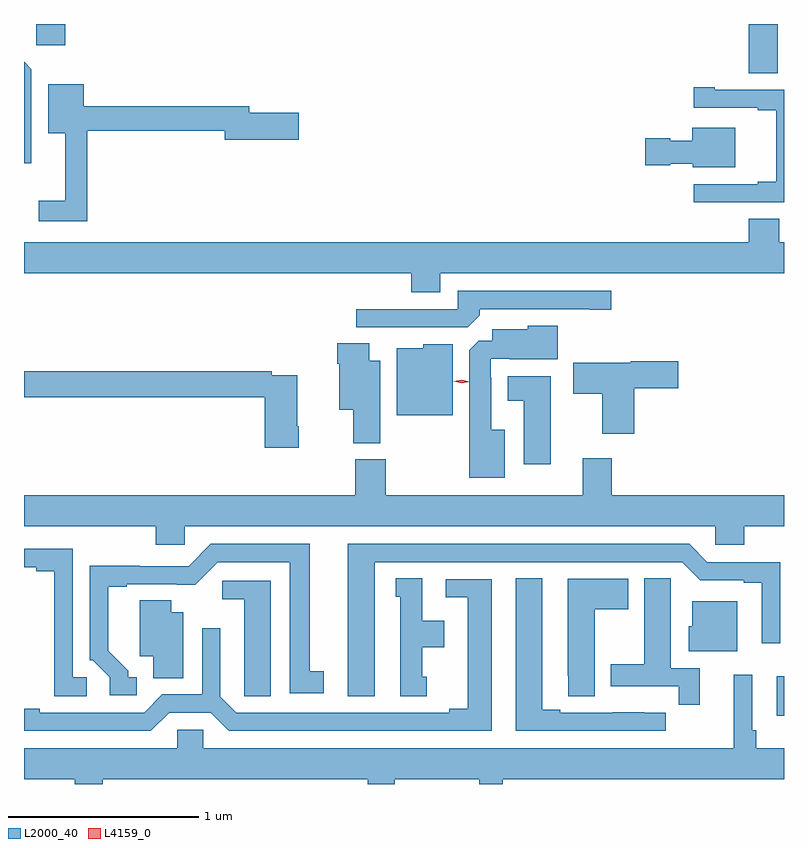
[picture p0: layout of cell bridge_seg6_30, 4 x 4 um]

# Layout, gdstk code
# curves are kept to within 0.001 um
import gdstk
lib = gdstk.Library(unit=1e-6, precision=1e-09)
def R(c, l, rs):  # rectangles x0, y0, x1, y1
    for r in rs: c.add(gdstk.rectangle(r[:2], r[2:], *l))
def P(c, l, *ps):  # polygons
    for p in ps: c.add(gdstk.Polygon(p, *l))
L2000_40 = (2000, 40)
L4159_0 = (4159, 0)

bridge_seg6_30 = lib.new_cell('bridge_seg6_30')
R(bridge_seg6_30, L2000_40, [(1104.422,990.296,1104.461,990.502), (1104.275,993.676,1104.427,993.936), (1100.526,993.825,1100.678,993.936)])
P(bridge_seg6_30, L2000_40, [(1100.499,993.699),(1100.461,993.737),(1100.461,993.204),(1100.499,993.204)],
  [(1100.795,993.373),(1101.518,993.373),(1101.518,993.326),(1101.907,993.326),(1101.907,993.468),(1101.646,993.468),(1101.646,993.502),(1100.776,993.502),(1100.776,993.619),(1100.588,993.619),(1100.588,993.362),(1100.678,993.362),(1100.678,993.007),(1100.538,993.007),(1100.538,992.898),(1100.795,992.898)],
  [(1104.461,993.591),(1104.097,993.591),(1104.097,993.604),(1103.985,993.604),(1103.985,993.495),(1104.323,993.495),(1104.323,993.483),(1104.419,993.483),(1104.419,993.106),(1104.323,993.106),(1104.323,993.093),(1103.985,993.093),(1103.985,992.997),(1104.461,992.997)],
  [(1104.205,993.391),(1103.978,993.391),(1103.978,993.322),(1103.862,993.322),(1103.862,993.335),(1103.73,993.335),(1103.73,993.193),(1103.862,993.193),(1103.862,993.2),(1103.982,993.2),(1103.982,993.182),(1104.205,993.182)],
  [(1102.651,992.624),(1104.461,992.624),(1104.461,992.788),(1104.435,992.788),(1104.435,992.912),(1104.275,992.912),(1104.275,992.788),(1100.461,992.788),(1100.461,992.624),(1102.499,992.624),(1102.499,992.525),(1102.651,992.525)],
  [(1102.859,992.402),(1102.859,992.436),(1103.438,992.436),(1103.438,992.431),(1103.551,992.431),(1103.551,992.532),(1102.743,992.532),(1102.743,992.436),(1102.209,992.436),(1102.209,992.34),(1102.797,992.34)],
  [(1102.99,991.801),(1102.921,991.801),(1102.921,992.075),(1102.917,992.075),(1102.917,992.175),(1103.017,992.175),(1103.017,992.171),(1103.269,992.171),(1103.269,992.347),(1103.112,992.347),(1103.112,992.329),(1102.925,992.329),(1102.925,992.268),(1102.854,992.268),(1102.805,992.219),(1102.805,991.547),(1102.99,991.547)],
  [(1102.336,992.164),(1102.279,992.164),(1102.279,992.255),(1102.109,992.255),(1102.109,992.147),(1102.121,992.147),(1102.121,991.907),(1102.195,991.907),(1102.195,991.729),(1102.336,991.729)],
  [(1102.717,992.251),(1102.563,992.251),(1102.563,992.23),(1102.424,992.23),(1102.424,991.877),(1102.717,991.877)],
  [(1103.672,992.018),(1103.905,992.018),(1103.905,992.16),(1103.655,992.16),(1103.655,992.152),(1103.352,992.152),(1103.352,991.99),(1103.504,991.99),(1103.504,991.779),(1103.672,991.779)],
  [(1101.906,991.819),(1101.898,991.819),(1101.898,992.088),(1101.764,992.088),(1101.764,992.108),(1100.461,992.108),(1100.461,991.972),(1101.728,991.972),(1101.728,991.707),(1101.906,991.707)],
  [(1103.233,992.083),(1103.006,992.083),(1103.006,991.952),(1103.09,991.952),(1103.09,991.62),(1103.233,991.62)],
  [(1101.306,991.292),(1104.099,991.292),(1104.099,991.194),(1104.251,991.194),(1104.251,991.292),(1104.461,991.292),(1104.461,991.456),(1103.555,991.456),(1103.555,991.651),(1103.402,991.651),(1103.402,991.456),(1102.365,991.456),(1102.365,991.644),(1102.205,991.644),(1102.205,991.456),(1100.461,991.456),(1100.461,991.292),(1101.155,991.292),(1101.155,991.194),(1101.306,991.194)],
  [(1102.306,991.104),(1103.925,991.104),(1104.021,991.008),(1104.248,991.008),(1104.248,990.996),(1104.344,990.996),(1104.344,990.678),(1104.441,990.678),(1104.441,991.104),(1104.057,991.104),(1103.961,991.2),(1102.166,991.2),(1102.166,990.399),(1102.306,990.399)],
  [(1101.055,990.498),(1101.01,990.498),(1101.01,990.533),(1100.905,990.638),(1100.905,990.975),(1101.001,990.975),(1101.001,990.987),(1101.362,990.986),(1101.48,991.104),(1101.86,991.104),(1101.86,990.414),(1102.039,990.414),(1102.039,990.53),(1101.964,990.53),(1101.964,991.2),(1101.444,991.2),(1101.327,991.083),(1101.071,991.083),(1101.071,991.085),(1100.808,991.085),(1100.808,990.588),(1100.823,990.588),(1100.913,990.498),(1100.913,990.402),(1101.055,990.402)],
  [(1100.791,990.498),(1100.718,990.498),(1100.718,991.173),(1100.461,991.173),(1100.461,991.077),(1100.525,991.077),(1100.525,991.057),(1100.621,991.057),(1100.621,990.397),(1100.791,990.397)],
  [(1102.582,990.501),(1102.558,990.501),(1102.558,990.656),(1102.672,990.656),(1102.672,990.796),(1102.558,990.796),(1102.558,991.019),(1102.418,991.019),(1102.418,990.921),(1102.442,990.921),(1102.442,990.399),(1102.582,990.399)],
  [(1103.839,990.312),(1103.726,990.312),(1103.726,990.313),(1103.56,990.313),(1103.56,990.312),(1103.284,990.312),(1103.284,990.327),(1103.188,990.327),(1103.188,991.019),(1103.048,991.019),(1103.048,990.216),(1103.839,990.216)],
  [(1104.017,990.546),(1103.866,990.546),(1103.866,990.908),(1103.865,990.908),(1103.865,991.019),(1103.726,991.019),(1103.726,990.567),(1103.549,990.567),(1103.549,990.45),(1103.908,990.45),(1103.908,990.354),(1104.017,990.354)],
  [(1103.464,990.856),(1103.641,990.856),(1103.641,991.015),(1103.324,991.015),(1103.324,990.505),(1103.325,990.505),(1103.325,990.397),(1103.464,990.397)],
  [(1101.225,990.312),(1101.443,990.312),(1101.539,990.216),(1102.924,990.216),(1102.924,991.014),(1102.68,991.014),(1102.68,990.918),(1102.796,990.918),(1102.796,990.332),(1102.7,990.332),(1102.7,990.312),(1101.579,990.312),(1101.495,990.396),(1101.495,990.757),(1101.399,990.757),(1101.399,990.408),(1101.189,990.408),(1101.093,990.312),(1100.545,990.312),(1100.545,990.332),(1100.461,990.332),(1100.461,990.216),(1101.129,990.216)],
  [(1101.76,991.005),(1101.504,991.005),(1101.504,990.908),(1101.62,990.908),(1101.62,990.505),(1101.621,990.505),(1101.621,990.397),(1101.76,990.397)],
  [(1101.298,990.841),(1101.235,990.841),(1101.235,990.902),(1101.071,990.902),(1101.071,990.608),(1101.14,990.608),(1101.14,990.493),(1101.298,990.493)],
  [(1104.214,990.898),(1103.978,990.898),(1103.978,990.765),(1103.96,990.765),(1103.96,990.635),(1104.214,990.635)],
  [(1100.875,989.96),(1102.271,989.96),(1102.271,989.936),(1102.411,989.936),(1102.411,989.96),(1102.856,989.96),(1102.856,989.936),(1102.982,989.936),(1102.982,989.96),(1104.461,989.96),(1104.461,990.124),(1104.314,990.124),(1104.314,990.22),(1104.294,990.22),(1104.294,990.511),(1104.197,990.511),(1104.197,990.124),(1101.405,990.124),(1101.405,990.222),(1101.267,990.222),(1101.267,990.124),(1100.461,990.124),(1100.461,989.96),(1100.728,989.96),(1100.728,989.936),(1100.875,989.936)])
P(bridge_seg6_30, L4159_0, [(1102.765,992.044),(1102.724,992.055),(1102.724,992.055),(1102.724,992.055),(1102.765,992.064),(1102.806,992.054),(1102.806,992.054),(1102.806,992.054)])

lib.write_gds('bridge_seg6_30.gds')
